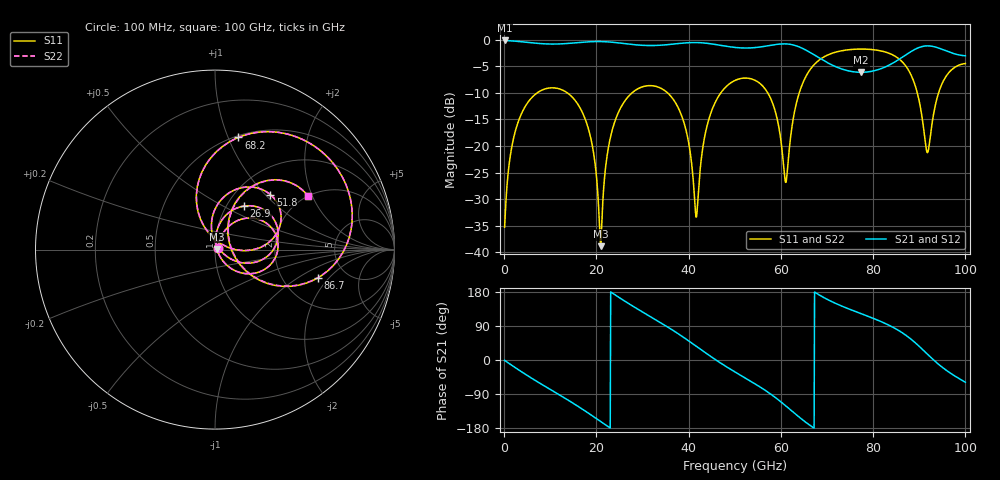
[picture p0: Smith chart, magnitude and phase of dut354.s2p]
! Touchstone file exported from HFSS 2026.1.0
!  File:  C:/ffzhzh/LocalFiles/Ansys_Project_Files/temp_train_TSV_RDL_354_1783709053_45164.aedt
!  Generated:  02:52:24 AM Jul 11, 2026
!  Design:  TSV_RDL
!  Project:  temp_train_TSV_RDL_354_1783709053_45164
! Variables:
!  h_bsmrdl = 3.18um
!  h_ox = 20um
!  h_rdl = 5um
!  h_sub = 86.86um
!  h_tmrdl = 2.01um
!  h_tsv = 86.86um
!  h_via = 3um
!  l_bsmrdl = 341.41um
!  l_sub = 2338.41um
!  l_tmrdl = 197.69um
!  m_sub = 200um
!  pitch = 40.64um
!  r_tsv = 9.65um
!  s_tmrdl = 10um
!  w_bsmrdl = 27.12um
!  w_sub = 500um
!  w_tmrdl = 14.02um
!  x_tsv_center1 = 204.7um
!  x_tsv_center2 = 573.23um
!  x_tsv_center3 = 784.94um
!  x_tsv_center4 = 1153.47um
!  x_tsv_center5 = 1365.18um
!  x_tsv_center6 = 1733.71um
# GHz S MA R 50.000000
! Terminal data exported
! Port[1] = TM_RDL1_1_T1
! Port[2] = TM_RDL5_1_T1
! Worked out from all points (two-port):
!   1000 points, 100 MHz to 100 GHz, reference 50 ohm
!   highest |S21| = -0.14 dB at 100 MHz (marker M1); lowest = -6.1 dB at 77.4 GHz (marker M2)
!   |S21| within 3 dB of the highest: start of sweep to 67.75 GHz; 86.59 GHz to end of sweep
!   lowest |S11| = -38.8 dB at 20.9 GHz (marker M3), VSWR 1.02, Z = 51.1 + j0.293 ohm
!   |S11| at or under -10 dB: start of sweep to 7.163 GHz; 13.7 GHz to 27.72 GHz (14.02 GHz wide, 67.7 % of centre); 35.43 GHz to 46.97 GHz (11.54 GHz wide, 28 % of centre) (the widest 3 of 5)
!   |S22| runs from -39.1 to -1.8 dB; largest |S21 - S12| = 1.2e-13
!   S11 on the Smith chart (normalised r, x): 100 MHz: 1.03, +0.01; 26.9 GHz: 1.20, +0.64; 51.8 GHz: 1.42, +1.07; 68.2 GHz: 0.52, +1.09; 86.7 GHz: 3.11, -1.52; 100 GHz: 1.99, +1.85
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0.1  0.01724 22.1  0.9841 -0.9  0.9841 -0.9  0.01724 22.1
! Gamma 0 0 0 0
! Port Impedance 50 0 50 0
1.9  0.111 63.1  0.9728 -16.0  0.9728 -16.0  0.111 63.1
5.3  0.2628 42.1  0.9413 -43.0  0.9413 -43.0  0.2628 42.1
16.8  0.214 -38.6  0.9454 -128.5  0.9454 -128.5  0.214 -38.6
20.9  0.01143 14.5  0.961 -162.1  0.961 -162.1  0.01106 14.3
23  0.1183 83.0  0.9507 -179.5  0.9507 -179.5  0.1182 83.2
26.9  0.2915 56.3  0.9107 149.6  0.9107 149.6  0.2914 56.3
33.4  0.3585 11.6  0.8852 102.3  0.8852 102.3  0.3584 11.6
38.8  0.1759 -25.1  0.9295 60.6  0.9295 60.6  0.1758 -25.1
41.6  0.02146 26.5  0.9402 36.7  0.9402 36.7  0.02115 26.5
44.6  0.1919 93.6  0.9184 10.9  0.9184 10.9  0.1919 93.8
50.1  0.4151 56.0  0.8457 -32.0  0.8457 -32.0  0.4151 56.1
51.8  0.4349 44.7  0.8362 -44.2  0.8362 -44.2  0.4349 44.9
57.8  0.279 5.0  0.8864 -90.1  0.8864 -90.1  0.2791 5.3
61  0.04553 50.7  0.9136 -120.4  0.9136 -120.4  0.04692 51.0
66.7  0.5496 88.7  0.7422 -175.8  0.7422 -175.8  0.5498 88.6
68.2  0.6385 78.2  0.6778 172.5  0.6778 172.5  0.6387 78.1
77.4  0.8168 31.9  0.4937 122.2  0.4937 122.2  0.8169 31.9
83.4  0.7468 4.5  0.5751 91.9  0.5751 91.9  0.747 4.6
86.7  0.5935 -15.4  0.7017 68.7  0.7017 68.7  0.5938 -15.3
91.8  0.08675 18.9  0.8756 15.0  0.8756 15.0  0.0895 18.8
100  0.5974 30.2  0.7061 -58.8  0.7061 -58.8  0.5976 30.0
